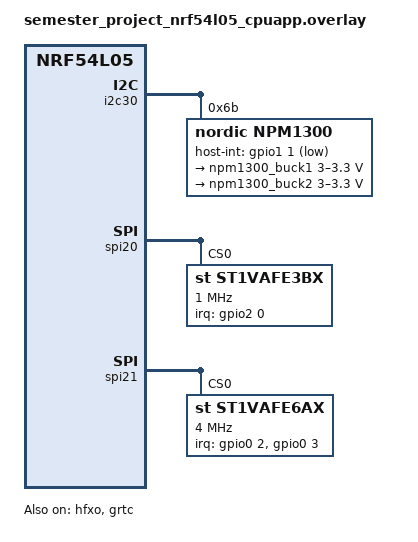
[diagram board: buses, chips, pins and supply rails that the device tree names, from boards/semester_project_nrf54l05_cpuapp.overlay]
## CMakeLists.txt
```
cmake_minimum_required(VERSION 3.20.0)

find_package(Zephyr REQUIRED HINTS $ENV{ZEPHYR_BASE})

project(Semester_project)

target_include_directories(app PRIVATE
    src
    stm_drivers/wrapper
    stm_drivers/st1vafe3bx-pid
    stm_drivers/st1vafe6ax-pid
)


#add_subdirectory()
target_sources(app PRIVATE
    src/main.c
    stm_drivers/wrapper/st1vafe_wrapper.c
    stm_drivers/st1vafe3bx-pid/st1vafe3bx_reg.c
    stm_drivers/st1vafe6ax-pid/st1vafe6ax_reg.c
)
```

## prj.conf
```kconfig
#internal 32kHz RC oscillator
CONFIG_CLOCK_CONTROL=y
CONFIG_CLOCK_CONTROL_NRF=y
CONFIG_CLOCK_CONTROL_NRF_K32SRC_RC=y

# Recommended RC calibration settings
CONFIG_CLOCK_CONTROL_NRF_K32SRC_RC_CALIBRATION=y
CONFIG_CLOCK_CONTROL_NRF_K32SRC_500PPM=y

CONFIG_BOOTLOADER_MCUBOOT=n
CONFIG_BUILD_WITH_TFM=n


# Enable UART driver
# Enable console

CONFIG_CONSOLE=y
CONFIG_SERIAL=y
CONFIG_UART_CONSOLE=y
CONFIG_USE_SEGGER_RTT=n

#BLUETOOTH
CONFIG_BT=y
CONFIG_BT_PERIPHERAL=y
CONFIG_BT_DEVICE_NAME="Hearth and Breathing Rate Monitor"
CONFIG_BT_DEVICE_APPEARANCE=833
CONFIG_BT_MAX_CONN=2

#pairing without pass
CONFIG_BT_SMP=y
CONFIG_BT_PASSKEY_KEYPRESS=n
CONFIG_BT_FIXED_PASSKEY=n
CONFIG_BT_BONDABLE=y
CONFIG_BT_SMP_ENFORCE_MITM=n
CONFIG_BT_SMP_MIN_ENC_KEY_SIZE=7

#MAX POWAAAA
CONFIG_BT_CTLR_TX_PWR_PLUS_8=y


# CONFIG_BT_BUF_ACL_RX_SIZE=251
# CONFIG_BT_BUF_ACL_TX_SIZE=251

# Enable the BT NUS
CONFIG_SHELL_BT_NUS=y
CONFIG_BT_NUS=y
CONFIG_BT_NUS_CLIENT=y

CONFIG_BT_GATT_CLIENT=y
CONFIG_BT_L2CAP_TX_MTU=128


CONFIG_SENSOR=y
CONFIG_SPI=y
CONFIG_SPI_NRFX=y
CONFIG_I2C=y
CONFIG_PINCTRL=y
CONFIG_PRINTK=y

CONFIG_PICOLIBC_IO_FLOAT=y
# CONFIG_NRFX_GPPI=y

#NPM13XX
CONFIG_MFD=y
CONFIG_MFD_NPM13XX=y
CONFIG_REGULATOR=y
CONFIG_REGULATOR_NPM13XX=y
CONFIG_LED=y
CONFIG_LED_NPM13XX=y
CONFIG_GPIO_NPM13XX=y
CONFIG_CHARGER=y
CONFIG_NPM13XX_CHARGER=y

#LOGS

# CONFIG_SENSOR_LOG_LEVEL_DBG=y
# CONFIG_LOG=y
# CONFIG_SPI_LOG_LEVEL_DBG=y
# CONFIG_GPIO_LOG_LEVEL_DBG=y

#ACCESS
# Disable APPROTECT (Access Port Protection)
CONFIG_NRF_APPROTECT_LOCK=n
CONFIG_NRF_APPROTECT_USER_HANDLING=y

CONFIG_NRF_SECURE_APPROTECT_LOCK=n
CONFIG_NRF_APPROTECT_DISABLE=y
```

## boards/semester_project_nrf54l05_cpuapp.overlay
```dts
//for NPM1300

#include <dt-bindings/regulator/npm13xx.h>


/ {
    /* Define the LFRC node if it's missing from the SoC dtsi */
    lfrc: lfrc {
        compatible = "fixed-clock";
        #clock-cells = <0>;
        clock-frequency = <32768>;
        status = "okay";
    };
};

&lfxo {
    status = "disabled";
};

&hfxo {
    status = "okay";
    load-capacitors = "internal";
    load-capacitance-femtofarad = <0x3a98>;
};

&grtc {
    /* Reference the lfrc node you defined above */
    clocks = <&lfrc>, <&pclk>;
    clock-names = "lfclock", "hfclock";
    status = "okay";
};

&clock {
    status = "okay";
};


&i2c30 {
    npm1300: pmic@6b {
        compatible = "nordic,npm1300";
        reg = <0x6b>;

        host-int-gpios = <&gpio1 1 GPIO_ACTIVE_LOW>;
        pmic-int-pin = <1>;//gpio
        long-press-reset = "one-button";
        status = "okay";

        npm1300_gpio: gpio-controller {
            compatible = "nordic,npm1300-gpio";
            gpio-controller;
            #gpio-cells = <2>;
            ngpios = <2>;
            //gpio-reserved-ranges = <2 3>;//not used
            gpio-line-names = "NPM_GPIO0", "NPM_GPIO1";
        };

        npm1300_regulators: regulators {
            compatible = "nordic,npm1300-regulator";

            npm1300_buck1: BUCK1 {
                regulator-min-microvolt = <3000000>;
                regulator-max-microvolt = <3300000>;
                retention-microvolt = <1800000>;
                regulator-min-microamp = <0>;
                regulator-max-microamp = <50000>;//50 mA to sensors
                regulator-boot-off;
            };
            npm1300_buck2: BUCK2 {
                regulator-boot-on;//mcu power
                regulator-min-microvolt = <3000000>;
                regulator-max-microvolt = <3300000>;
                retention-microvolt = <1800000>;
                regulator-min-microamp = <0>;
                regulator-max-microamp = <50000>;//50 mA to sensors
            };
        };

        npm1300_charger: charger {
            compatible = "nordic,npm1300-charger";
            term-microvolt = <4100000>;
            current-microamp = <300000>;//300 mA charge current
            trickle-microvolt = <2900000>;
            dischg-limit-microamp = <200000>;// 200 mA max discharge
            vbus-limit-microamp = <400000>;// max input current (charging+leds) 0.5A
            thermistor-ohms = <0>;
            thermistor-beta = <3380>;
            charging-enable;
            vbatlow-charge-enable;
        };


        npm1300_leds: leds {
            compatible = "nordic,npm1300-led";
            nordic,led0-mode = "error";
            nordic,led1-mode = "host";
            nordic,led2-mode = "charging";
        };

    };
};
&spi20 {
    status = "okay";
    st1vafe3bx: st1vafe3bx@0 {
        status = "okay";
        compatible = "st,st1vafe3bx";
        reg = <0>;
        spi-max-frequency = <1000000>;
        spi-cpol;//logic high state NOT SURE/ datasheet shows both but not a default one
        spi-cpha;//captured at rising
        irq-gpios = <&gpio2 0 GPIO_ACTIVE_HIGH>;
    };
};

&spi21 {
    status = "okay";
    st1vafe6ax: st1vafe6ax@0 {
        status = "okay";
        compatible = "st,st1vafe6ax";
        reg = <0>;
        spi-max-frequency = <4000000>;//1 mhz before
        spi-cpol;//logic high state
        spi-cpha;//captured at rising
        irq-gpios = <&gpio0 2 GPIO_ACTIVE_HIGH>, <&gpio0 3 GPIO_ACTIVE_HIGH>;
    };
};
```

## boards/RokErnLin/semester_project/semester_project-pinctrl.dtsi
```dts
&pinctrl {
	spi20_default: spi20_default {
		group1 {
			psels = <NRF_PSEL(SPIM_SCK, 2, 1)>,
			        <NRF_PSEL(SPIM_MOSI, 2, 4)>,
			        <NRF_PSEL(SPIM_MISO, 2, 2)>;
		};
	};

	spi20_sleep: spi20_sleep {
		group1 {
			psels = <NRF_PSEL(SPIM_SCK, 2, 1)>;
		};
	};

	spi21_default: spi21_default {
		group1 {
			psels = <NRF_PSEL(SPIM_SCK, 2, 6)>,
			        <NRF_PSEL(SPIM_MOSI, 2, 8)>,
			        <NRF_PSEL(SPIM_MISO, 2, 9)>;
		};
	};

	spi21_sleep: spi21_sleep {
		group1 {
			psels = <NRF_PSEL(SPIM_SCK, 2, 6)>;
		};
	};

	uart22_default: uart22_default {
		group1 {
			psels = <NRF_PSEL(UART_TX, 1, 4)>, <NRF_PSEL(UART_RX, 1, 5)>;
		};
	};

	uart22_sleep: uart22_sleep {
		group1 {
			psels = <NRF_PSEL(UART_TX, 1, 4)>;
		};
	};

	i2c30_default: i2c30_default {
		group1 {
			psels = <NRF_PSEL(TWIM_SCL, 0, 0)>, <NRF_PSEL(TWIM_SDA, 0, 1)>;
		};
	};

	i2c30_sleep: i2c30_sleep {
		group1 {
			psels = <NRF_PSEL(TWIM_SCL, 0, 0)>;
		};
	};
};
```

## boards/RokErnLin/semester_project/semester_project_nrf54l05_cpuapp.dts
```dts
/dts-v1/;
#include <nordic/nrf54l05_cpuapp.dtsi>
#include <nordic/nrf54l05_partition.dtsi>
#include "semester_project-pinctrl.dtsi"

/ {
	model = "Electronic Guided Breathing Control";
	compatible = "RokErnLin,semester-project-cpuapp","nordic,nrf54l05";

	chosen {
		zephyr,console = &uart22;
		// zephyr,shell-uart = &uart22;
		// zephyr,uart-mcumgr = &uart22;
		// zephyr,bt-mon-uart = &uart22;
		// zephyr,bt-c2h-uart = &uart22;

		zephyr,code-partition = &slot0_partition;
		zephyr,sram = &cpuapp_sram;
		zephyr,flash = &cpuapp_rram;
		zephyr,flash-controller = &rram_controller;
	};

	zephyr,user {
		pin2-gpios = <&gpio1 6 GPIO_ACTIVE_HIGH>;
		pin3-gpios = <&gpio1 7 GPIO_ACTIVE_HIGH>;
		//int_6ax_1-gpios = <&gpio0 2 0>;
		//int_6ax_2-gpios = <&gpio0 3 0>;
		//int_3bx-gpios = <&gpio2 0 0>;
	};
};

&grtc {
	owned-channels = <0 1 2 3 4 5 6 7 8 9 10 11>;
	/* Channels 7-11 reserved for Zero Latency IRQs, 3-4 for FLPR */
	child-owned-channels = <3 4 7 8 9 10 11>;
	status = "okay";
};

&cpuapp_sram {
	status = "okay";
	reg = <0x20000000 DT_SIZE_K(96)>;
	ranges = <0x0 0x20000000 DT_SIZE_K(96)>;
};

&gpio1 {
	status = "okay";
};

&gpio0 {
	status = "okay";
};

&gpio2 {
    status = "okay";
};

&uart22 {
    status = "okay";
    pinctrl-0 = <&uart22_default>;
    pinctrl-1 = <&uart22_sleep>;
    pinctrl-names = "default", "sleep";
    current-speed = <250000>;//115200
};

&spi20 {
	status = "okay";
	pinctrl-0 = <&spi20_default>;
	pinctrl-1 = <&spi20_sleep>;
	pinctrl-names = "default", "sleep";
	cs-gpios = <&gpio2 5 GPIO_ACTIVE_LOW>;
};

&spi21 {
	status = "okay";
	pinctrl-0 = <&spi21_default>;
	pinctrl-1 = <&spi21_sleep>;
	pinctrl-names = "default", "sleep";
	cs-gpios = <&gpio2 10 GPIO_ACTIVE_LOW>;
};

&gpiote20 {
	status = "okay";
};

&gpiote30 {
	status = "okay";
};

&i2c30 {
    status = "okay";
	compatible = "nordic,nrf-twim";
    clock-frequency = <I2C_BITRATE_STANDARD>;
    pinctrl-0 = <&i2c30_default>;
    pinctrl-1 = <&i2c30_sleep>;
    pinctrl-names = "default", "sleep";
};

&clock {
	status = "okay";
};

&timer10 {
	status = "okay";
};

&radio {
	status = "okay";
};
```

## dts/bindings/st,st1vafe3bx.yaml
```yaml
description: ST1VAFE3BX generic SPI node
compatible: "st,st1vafe3bx"
include: spi-device.yaml

properties:
    irq-gpios:
      type: phandle-array
      description: Interrupt GPIO pin
```

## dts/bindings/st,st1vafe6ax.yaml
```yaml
description: ST1VAFE6AX generic SPI node
compatible: "st,st1vafe6ax"
include: spi-device.yaml

properties:
    irq-gpios:
      type: phandle-array
      description: Interrupt GPIO pin
```

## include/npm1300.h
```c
#ifndef NPM1300_H
#define NPM1300_H

#define VBUSIN_BASE 0x00000200
#define VBUSINSTATUS VBUSIN_BASE+0x7//read 0-5 bits

#define BCHARGER 0x00000300

#endif
```

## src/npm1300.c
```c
#include "npm1300.h"
```
